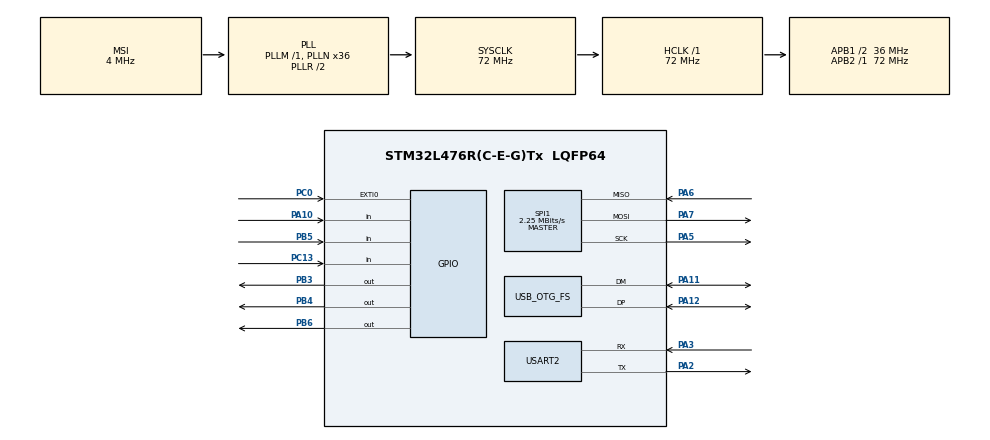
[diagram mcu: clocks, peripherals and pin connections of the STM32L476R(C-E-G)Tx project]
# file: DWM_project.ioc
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Mcu.Family=STM32L4
Mcu.Name=STM32L476R(C-E-G)Tx
Mcu.Package=LQFP64
NVIC.EXTI0_IRQn=true\:1\:0\:true
NVIC.PriorityGroup=NVIC_PRIORITYGROUP_4
PA10.Signal=GPIO_Input
PA11.Mode=Device_Only
PA11.Signal=USB_OTG_FS_DM
PA12.Mode=Device_Only
PA12.Signal=USB_OTG_FS_DP
PA2.Mode=Asynchronous
PA2.Signal=USART2_TX
PA3.Mode=Asynchronous
PA3.Signal=USART2_RX
PA5.Mode=Full_Duplex_Master
PA5.Signal=SPI1_SCK
PA6.GPIO_PuPd=GPIO_PULLUP
PA6.Mode=Full_Duplex_Master
PA6.Signal=SPI1_MISO
PA7.Mode=Full_Duplex_Master
PA7.Signal=SPI1_MOSI
PB3.Signal=GPIO_Output
PB4.Signal=GPIO_Output
PB5.Signal=GPIO_Input
PB6.GPIO_PuPd=GPIO_PULLUP
PB6.GPIO_Speed=GPIO_SPEED_HIGH
PB6.PinState=GPIO_PIN_SET
PB6.Signal=GPIO_Output
PC0.GPIO_PuPd=GPIO_PULLDOWN
PC0.Signal=GPXTI0
PC13.Signal=GPIO_Input
ProjectManager.HeapSize=0x400
ProjectManager.StackSize=0x200
ProjectManager.TargetToolchain=MDK-ARM V5
RCC.ADCFreq_Value=48000000
RCC.AHBFreq_Value=72000000
RCC.APB1CLKDivider=RCC_HCLK_DIV2
RCC.APB1Freq_Value=36000000
RCC.APB1TimFreq_Value=72000000
RCC.APB2Freq_Value=72000000
RCC.APB2TimFreq_Value=72000000
RCC.CortexFreq_Value=72000000
RCC.HCLKFreq_Value=72000000
RCC.HSE_VALUE=8000000
RCC.HSI_VALUE=16000000
RCC.LSE_VALUE=32768
RCC.MSI_VALUE=4000000
RCC.PLLN=36
RCC.PLLSAI1N=24
RCC.SYSCLKFreq_VALUE=72000000
RCC.SYSCLKSource=RCC_SYSCLKSOURCE_PLLCLK
RCC.USBFreq_Value=48000000
RCC.VCOOutputFreq_Value=144000000
SPI1.BaudRatePrescaler=SPI_BAUDRATEPRESCALER_32
SPI1.CLKPhase=SPI_PHASE_1EDGE
SPI1.CLKPolarity=SPI_POLARITY_LOW
SPI1.CRCCalculation=SPI_CRCCALCULATION_DISABLED
SPI1.CalculateBaudRate=2.25 MBits/s
SPI1.DataSize=SPI_DATASIZE_8BIT
SPI1.FirstBit=SPI_FIRSTBIT_MSB
SPI1.Mode=SPI_MODE_MASTER
SPI1.NSSPMode=SPI_NSS_PULSE_DISABLED
TIM2.Period=0xFFFFFFFF
TIM2.Prescaler=71
USART2.WordLength=UART_WORDLENGTH_8B
USB_OTG_FS.VirtualMode=Device_Only
VP_TIM2_VS_ClockSourceINT.Mode=Internal
board=DWM_project

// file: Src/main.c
/**
  ******************************************************************************
  * File Name          : main.c
  * Description        : Main program body
  ******************************************************************************
  *
  * COPYRIGHT(c) 2016 STMicroelectronics
  *
  * Redistribution and use in source and binary forms, with or without modification,
  * are permitted provided that the following conditions are met:
  *   1. Redistributions of source code must retain the above copyright notice,
  *      this list of conditions and the following disclaimer.
  *   2. Redistributions in binary form must reproduce the above copyright notice,
  *      this list of conditions and the following disclaimer in the documentation
  *      and/or other materials provided with the distribution.
  *   3. Neither the name of STMicroelectronics nor the names of its contributors
  *      may be used to endorse or promote products derived from this software
  *      without specific prior written permission.
  *
  * THIS SOFTWARE IS PROVIDED BY THE COPYRIGHT HOLDERS AND CONTRIBUTORS "AS IS"
  * AND ANY EXPRESS OR IMPLIED WARRANTIES, INCLUDING, BUT NOT LIMITED TO, THE
  * IMPLIED WARRANTIES OF MERCHANTABILITY AND FITNESS FOR A PARTICULAR PURPOSE ARE
  * DISCLAIMED. IN NO EVENT SHALL THE COPYRIGHT HOLDER OR CONTRIBUTORS BE LIABLE
  * FOR ANY DIRECT, INDIRECT, INCIDENTAL, SPECIAL, EXEMPLARY, OR CONSEQUENTIAL
  * DAMAGES (INCLUDING, BUT NOT LIMITED TO, PROCUREMENT OF SUBSTITUTE GOODS OR
  * SERVICES; LOSS OF USE, DATA, OR PROFITS; OR BUSINESS INTERRUPTION) HOWEVER
  * CAUSED AND ON ANY THEORY OF LIABILITY, WHETHER IN CONTRACT, STRICT LIABILITY,
  * OR TORT (INCLUDING NEGLIGENCE OR OTHERWISE) ARISING IN ANY WAY OUT OF THE USE
  * OF THIS SOFTWARE, EVEN IF ADVISED OF THE POSSIBILITY OF SUCH DAMAGE.
  *
  ******************************************************************************
  */
#include "stm32l4xx_hal.h"

/* USER CODE BEGIN Includes */
#include "deca_device_api.h"
#include "deca_regs.h"
#include "deca_com.h"
#include "usart_com.h"
#include "deca_spi.h"
#include "deca_meas.h"

#include <stdio.h>
#include <string.h>

/* USER CODE END Includes */

SPI_HandleTypeDef hspi1;

TIM_HandleTypeDef htim2;

UART_HandleTypeDef huart2;

PCD_HandleTypeDef hpcd_USB_OTG_FS;

/* USER CODE BEGIN PV */
/* Private variables ---------------------------------------------------------*/

/* USER CODE END PV */

void SystemClock_Config(void);
static void MX_GPIO_Init(void);
static void MX_SPI1_Init(void);
static void MX_USART2_UART_Init(void);
static void MX_USB_OTG_FS_PCD_Init(void);
static void MX_TIM2_Init(void);

/* USER CODE BEGIN PFP */
/* Private function prototypes -----------------------------------------------*/

/* USER CODE END PFP */

/* USER CODE BEGIN 0 */

uint32_t dwt_state = DECA_STATE_IDLE;
uint32_t dwt_state_local = DECA_STATE_IDLE;

/* Default communication configuration. We use here EVK1000's default mode (mode 3). */
static dwt_config_t config =
	{ // working configuration
    2,               /* Channel number. */
    DWT_PRF_64M,     /* Pulse repetition frequency. */
    DWT_PLEN_4096,   /* Preamble length. Used in TX only. */
    DWT_PAC64,       /* Preamble acquisition chunk size. Used in RX only. */
    9,               /* TX preamble code. Used in TX only. */
    9,               /* RX preamble code. Used in RX only. */
    1,               /* 0 to use standard SFD, 1 to use non-standard SFD. */
    DWT_BR_110K,     /* Data rate. */
    DWT_PHRMODE_STD, /* PHY header mode. */
    DWT_SFDTOC_DEF /* SFD timeout (preamble length + 1 + SFD length - PAC size). Used in RX only. */
	};

static dwt_config_t def_config =
	{ // working configuration
    2,               /* Channel number. */
    DWT_PRF_64M,     /* Pulse repetition frequency. */
    DWT_PLEN_4096,   /* Preamble length. Used in TX only. */
    DWT_PAC64,       /* Preamble acquisition chunk size. Used in RX only. */
    9,               /* TX preamble code. Used in TX only. */
    9,               /* RX preamble code. Used in RX only. */
    1,               /* 0 to use standard SFD, 1 to use non-standard SFD. */
    DWT_BR_110K,     /* Data rate. */
    DWT_PHRMODE_STD, /* PHY header mode. */
    DWT_SFDTOC_DEF /* SFD timeout (preamble length + 1 + SFD length - PAC size). Used in RX only. */
	};

	// DW transmission diagnostic structure
	static dwt_rxdiag_t rx_diag;

/* Configuration message
* byte 0 - message type
* byte 1 - channel number
* byte 2 - PRF
* byte 3 - Data Rate
* byte 4 - Preamble sequence length
* byte 5 - payload size
*/
// default configuration message
uint8_t ac_defConfigMsg[6] = {MSG_TYPE_CONF_SET, 2, DWT_PRF_64M, DWT_BR_110K, DWT_PLEN_1024, PAYLOAD_20B_CODE};

/* Default antenna delay values for 64 MHz PRF */
#define TX_ANT_DLY 16436
#define RX_ANT_DLY 16436

/* Frames used for measurement process*/
static uint8 ac_txConfMsg[CONFIG_MSG_LENGTH] = {MSG_TYPE_CONF_SET, 2, 2, DWT_BR_110K, DWT_PLEN_1024, PAYLOAD_20B_CODE, 0, 0, 0, 0};
static uint8 ac_txConfigConfirm[CONFIG_MSG_LENGTH] = {MSG_TYPE_CONF_CONFIRM, 0, 0, 0, 0, 0, 0, 0, 0, 0};
static uint8 ac_pollMsg[PAYLOAD_1000B]; // set size to max possible payload
static uint8 ac_respMsg[PAYLOAD_1000B]; // set size to max possible payload

/* Payload size */
uint32 w_dwtPayloadSize = PAYLOAD_20B;

/* Data rate */
uint32_t w_dataRate = 110;

/* Receiver timeout value */
uint32_t w_timeoutVal = 10000;

/* Transmit and received messages counters */
uint8 w_trMsgCnt = 0;      	          	// transmit messages counter
uint32_t w_recMsgCnt = 0;		 			          // receive messages counter
uint32_t w_rxRespTimeoutCnt = 0;            // receive response timeount counter
uint32_t w_rxConfigTimeoutCnt = 0;          // receive configuration timeount counter
uint32_t w_rxConfigConfirmTimeoutCnt = 0;   // receive configuration confirm timeount counter
uint32_t w_rxErrCnt = 0;					          // error receiving counter
uint32_t w_trCallbackCnt = 0;			          // transmit callback counter
uint32_t w_rxPollTimeoutCnt = 0;            // receive poll timeout counter

uint32_t w_rxTagRecTimeoutCnt = 0;

/* Timer values */
uint32_t w_tagTimVal = 0;   		// Tag message processing time
uint32_t w_anchorRxTimVal = 0;  // Anchor receive message time

/* Measurement data for host*/
uint32_t aw_measTimValues[NUM_MEASURE_MESSAGES];       // Measured Timer values
uint32_t aw_measTurnaroundTimes[NUM_MEASURE_MESSAGES]; // Tag's measured turnaround times
uint32_t aw_ChImpulseResponse[NUM_MEASURE_MESSAGES];   // Channel impulse response (used for RSSI calculation)
uint32_t aw_rxPreamCount[NUM_MEASURE_MESSAGES];        // Receive preamble counter (used for RSSI calculation)

/* DW module mode*/
/* Set desired operating mode for DW here */
uint32_t w_dwtMode = DECA_MODE_TAG;

/* Receive buffer */
static uint8 ac_rxBuffer[PAYLOAD_1000B]; // Set receive buffer length to maximum possible payload

/* Function declaration */
void setConfigurationStruct(uint8 *ac_configMsg, dwt_config_t *dwtStructConfig);
uint8 getPACsize(uint8 c_PrmLength);
uint8 getPRMcode(uint8 c_chNum, uint8 c_PRF);
uint8 getPHR(uint8 payload);
uint32_t getPayload(uint8 payloadCode);
uint32_t getDataRateFromCode(uint8 c_dataRateCode);
uint32_t getTimeoutVal(uint8 c_timoutCode);
void sendMeasurementData(void);
void clearArray(uint32_t *aw_array, uint32_t w_size);
uint32_t computeVarianceSum(uint32_t *aw_wordArray, uint32_t w_size, uint8_t c_excludeZerosEn);
uint32_t computeAverage(uint32_t *aw_wordArray, uint32_t w_size, uint8_t c_excludeZerosEn);
uint32_t computeSum(uint32_t *aw_wordArray, uint32_t w_size);

// declaration of callback functions
static void rx_ok_cb(const dwt_cb_data_t *cb_data);
static void rx_to_cb(const dwt_cb_data_t *cb_data);
static void rx_err_cb(const dwt_cb_data_t *cb_data);
static void tx_conf_cb(const dwt_cb_data_t *cb_data);

/* USER CODE END 0 */

int main(void)
{

  /* MCU Configuration----------------------------------------------------------*/

  /* Reset of all peripherals, Initializes the Flash interface and the Systick. */
  HAL_Init();

  /* Configure the system clock */
  SystemClock_Config();

  /* Initialize all configured peripherals */
  MX_GPIO_Init();
  MX_SPI1_Init();
  MX_USART2_UART_Init();
  MX_USB_OTG_FS_PCD_Init();
  MX_TIM2_Init();

  /* USER CODE BEGIN 2 */
	wakeup_DW1000();
	//USART_puts("DWT wakeup\n");

	reset_DW1000();
	//USART_puts("DWT reset\n");
	HAL_Delay(5);

	/* Initialize DWT*/
	set_spi_speed_low(); // set SPI to low speed (2.5MHz) for initialization
	if (dwt_initialise(DWT_LOADUCODE) == DWT_SUCCESS){
		//USART_puts("Initialization OK\n");
	}
	else
	{
		//USART_puts("Initialization FAILED\n");
		while(1){};
	}
	set_spi_speed_high(); // set SPI to high speed (20MHz)

	HAL_Delay(5);

	/* Configure DW1000. */
	dwt_configure(&config);
	//USART_puts("DW configured\n");
	HAL_Delay(5);

	/* Register RX call-back. */
	dwt_setcallbacks(&tx_conf_cb, &rx_ok_cb, &rx_to_cb, &rx_err_cb);

	/* Enable wanted interrupts (TX confirmation, RX good frames, RX timeouts and RX errors). */
	dwt_setinterrupt(DWT_INT_TFRS | DWT_INT_RFCG | DWT_INT_RFTO | DWT_INT_RXPTO | DWT_INT_RPHE | DWT_INT_RFCE | DWT_INT_RFSL | DWT_INT_SFDT, 1);

	// set delay after transmiting
	dwt_setrxaftertxdelay(TX_TO_RX_DELAY_UUS);

	/* Apply default antenna delay value */
	dwt_setrxantennadelay(RX_ANT_DLY);
	dwt_settxantennadelay(TX_ANT_DLY);

	// Check SPI communication by reading ID
	while(dwt_readdevid() != DWT_DEVICE_ID){
		//USART_puts("ID NOT read successfully\n");
		while(1){};
	}
	//USART_puts("ID read successfully\n");

	// TAG should start receiving on power on.
	if (w_dwtMode == DECA_MODE_TAG ){
		//USART_puts("Selected mode is TAG - RESPONDER\n");

		/* Activate reception immediately. */
		dwt_rxenable(DWT_START_RX_IMMEDIATE);
		dwt_state = DECA_TAG_RECEIVING_STATE;

		/* Reset and start timer */
		TIM2->CR1 |= 0x1; // Timer enable
		TIM2->EGR |= 0x1; // Update event

		/* Set receive timeout */
		dwt_setrxtimeout(DWT_TAG_RECEIVE_TIMEOUT);
	}
	else if (w_dwtMode == DECA_MODE_ANCHOR){
		//USART_puts("Selected mode is ANCHOR - INITIATOR\n");

		dwt_state = DECA_ANCHOR_STATE_IDLE;

		TIM2->CR1 |= 0x1; // Timer enable
		TIM2->EGR |= 0x1; // Update event

		/* Set receive timeout */
		dwt_setrxtimeout(DWT_ANCHOR_RECEIVE_TIMEOUT);
	}

	/* Alert host, that MCU reset has occured*/
	USART_putc(MCU_RESET);

  /* USER CODE END 2 */

  /* Infinite loop */
  while (1)
  {

  /* USER CODE BEGIN 3 */

		dwt_state_local = dwt_state;

		/* Main state machine*/
		switch (dwt_state_local){
			case DECA_ANCHOR_STATE_IDLE:
				//USART_puts("DECA_ANCHOR_IDLE\n");
				if (USART_getc() == NEW_CONFIGURATION_INCOMING){

					EXTI->IMR1 &= ~0x1; // mask EXTI0 interrupt

					/* Create configuration message from expected bytes */
					for (uint32_t i = 0; i < USART_NUM_OF_CONFIG; i++){
						ac_txConfMsg[i+1] = USART_getc();
					}

					ac_txConfMsg[MSG_TYPE_BYTE] = MSG_TYPE_CONF_SET;

					/* Reset all counters */
					w_trMsgCnt = 0;      	             // Transmit messages counter
					w_recMsgCnt = 0;		 			         // Receive messages counter
					w_rxRespTimeoutCnt = 0;            // Receive response timeout counter
					w_rxConfigTimeoutCnt = 0;			  	 // Receive configuration confirm timeout counter
					w_rxConfigConfirmTimeoutCnt = 0; 	 // Receive configuration confirm timeout counter
					w_rxErrCnt = 0;					  		  	 // Error receiving counter
					w_trCallbackCnt = 0;						   // Transmit callback counter
					w_rxPollTimeoutCnt = 0;   		   	 // Receive poll timeout counter

					/* Send configuration to TAG */
					/* Write frame data to DW1000 and prepare transmission. */
					dwt_writetxdata(sizeof(ac_txConfMsg), ac_txConfMsg, 0); /* Zero offset in TX buffer. */
					dwt_writetxfctrl(sizeof(ac_txConfMsg), 0, 1);				    /* Zero offset in TX buffer,  ranging. */

					/* Start transmission, indicating that a response is expected so that reception is enabled immediately after the frame is sent. */
					dwt_starttx(DWT_START_TX_IMMEDIATE | DWT_RESPONSE_EXPECTED);
					//USART_puts("Configuration sent to TAG\n");

					dwt_state = DECA_ANCHOR_RECEIVING_CONFIRM_STATE;

					EXTI->IMR1 |= 0x1; // unmask EXTI0 interrupt

				}

				/* Reset and start timer */
				TIM2->EGR |= 0x1;

				break;

			case DECA_TAG_CONFIG_RECEIVED_STATE:
				//USART_puts("DECA_TAG_CONFIG_RECEIVED_STATE\n");

				EXTI->IMR1 &= ~0x1; // mask EXTI0 interrupt

				/* Send confirmation message to Anchor */
				/* Write frame data to DW1000 and prepare transmission. */
				ac_txConfigConfirm[MSG_TYPE_BYTE] = MSG_TYPE_CONF_CONFIRM;
				dwt_writetxdata(sizeof(ac_txConfigConfirm), ac_txConfigConfirm, 0); /* Zero offset in TX buffer. */
				dwt_writetxfctrl(sizeof(ac_txConfigConfirm), 0, 1);				          /* Zero offset in TX buffer,  ranging. */

				/* Start transmission */
				dwt_starttx(DWT_START_TX_IMMEDIATE);

				/* Delay here, so message is sent before we force transmitter off */
				HAL_Delay(5);

				/* Disable receiver, transmitter, so new configuration can be set */
				dwt_forcetrxoff();
				dwt_rxreset();

				/* Set configuration */
				setConfigurationStruct(ac_rxBuffer, &config);
				dwt_configure(&config);

				/* Set payload size */
				w_dwtPayloadSize = getPayload(ac_rxBuffer[PAYLOAD_SIZE_BYTE]);

				/* Reset receive poll counter */
				w_rxPollTimeoutCnt = 0;

				/* Reset receive error counter */
				w_rxErrCnt = 0;

				/* Reset counter */
				w_rxTagRecTimeoutCnt = 0;

				/* Activate reception */
				dwt_rxenable(DWT_START_RX_IMMEDIATE);

				dwt_state = DECA_TAG_RECEIVING_STATE;

				/* Reset and start timer */
				TIM2->EGR |= 0x1;

				EXTI->IMR1 |= 0x1; // unmask EXTI0 interrupt

				break;

			case DECA_ANCHOR_CONFIRM_RECEIVED_STATE:
				//USART_puts("DECA_ANCHOR_CONFIRM_RECEIVED_STATE\n");

				EXTI->IMR1 &= ~0x1; // mask EXTI0 interrupt

				/* Disable receiver, transmitter, so new configuration can be set. */
				dwt_forcetrxoff();
				dwt_rxreset();

				/* Set configuration */
				setConfigurationStruct(ac_txConfMsg, &config); // set config structure
				dwt_configure(&config); 								 // set dwt configuration

				/* Get payload from received configuration message */
				w_dwtPayloadSize = getPayload(ac_txConfMsg[PAYLOAD_SIZE_BYTE]);

				/* Reset transmit and receive counters */
				w_recMsgCnt = 0;
				w_trMsgCnt = 0;

				w_rxConfigConfirmTimeoutCnt = 0;

				/* Wait for tag to properly configure */
				HAL_Delay(5);

				/* Start with measuring exchange */
				/* Write frame data to DW1000 and prepare transmission. */
				ac_pollMsg[MSG_TYPE_BYTE] = MSG_TYPE_MEAS_POLL;
				ac_pollMsg[POLL_NUM_BYTE] = 0;
				dwt_writetxdata(w_dwtPayloadSize, ac_pollMsg, 0); /* Zero offset in TX buffer. */
				dwt_writetxfctrl(w_dwtPayloadSize, 0, 1);		     	/* Zero offset in TX buffer,  ranging. */

				/* Reset and start Timer */
				TIM2->CR1 |=0x1;
				TIM2->EGR |= 0x1;

				/* Increment transmit counter value */
				w_trMsgCnt++;

				/* Start transmission, indicating that a response is expected so that reception is enabled immediately after the frame is sent. */
				dwt_starttx(DWT_START_TX_IMMEDIATE | DWT_RESPONSE_EXPECTED);

				dwt_state = DECA_ANCHOR_RECEIVING_RESPONSE_STATE;

				EXTI->IMR1 |= 0x1; // unmask EXTI0 interrupt

				break;

			case DECA_TAG_POLL_RECEIVED_STATE:

				EXTI->IMR1 &= ~0x1; // mask EXTI0 interrupt

				//USART_puts("DECA_TAG_POLL_RECEIVED_STATE\n");

				/* Send response */
				/* Write frame data to DW1000 and prepare transmission. */
				ac_respMsg[MSG_TYPE_BYTE] = MSG_TYPE_MEAS_RESPONSE;
				w_trMsgCnt = ac_rxBuffer[POLL_NUM_BYTE];

				/* Write previous receive timestamp to message, little endian*/
				for (uint32_t i = 0; i < 4;  i++){
					ac_respMsg[TIMESTAMP_OFFSET + i] = (uint8)(w_tagTimVal >> 8*i);
				}

				ac_respMsg[POLL_NUM_BYTE] = w_trMsgCnt;

				dwt_writetxdata(w_dwtPayloadSize, ac_respMsg, 0); /* Zero offset in TX buffer. */
				dwt_writetxfctrl(w_dwtPayloadSize, 0, 1);				  /* Zero offset in TX buffer,  ranging. */

				/* Save interval from receiving message interrupt to before sending response. */
				w_tagTimVal = TIM2->CNT;

				/* Reset and start timer */
				TIM2->EGR |= 0x1;

				/* Reset counter */
				w_rxTagRecTimeoutCnt = 0;

				/* Start transmission, indicating that a response is expected so that reception is enabled immediately after the frame is sent. */
				dwt_starttx(DWT_START_TX_IMMEDIATE | DWT_RESPONSE_EXPECTED);
				//USART_puts("Response sent\n");

				dwt_state = DECA_TAG_RECEIVING_STATE;

				EXTI->IMR1 |= 0x1; // unmask EXTI0 interrupt

				break;

			case DECA_ANCHOR_RESPONSE_RECEIVED_STATE:

				EXTI->IMR1 &= ~0x1; // mask EXTI0 interrupt

				//USART_puts("DECA_ANCHOR_RESPONSE_RECEIVED_STATE\n");

				if (ac_rxBuffer[POLL_NUM_BYTE] != w_trMsgCnt-1){
					dwt_state = DECA_ANCHOR_REC_RESPONSE_TMOUT_STATE;

					EXTI->IMR1 |= 0x1; // unmask EXTI0 interrupt
					break;
				}

				/* Reset configuration confirm timeout counter */
				w_rxConfigConfirmTimeoutCnt = 0;

				/* Read receiver diagnostics from DW */
				dwt_readdiagnostics(&rx_diag);

				/* Save timer value */
				//aw_measTimValues[w_trMsgCnt-1] = w_anchorRxTimVal;
				aw_measTimValues[w_recMsgCnt] = w_anchorRxTimVal;

				/* Subtract Tag's internal timestamp value from previous recorded Anchor value */
				if (w_recMsgCnt > 0){

					/* Read received Tag's timestamp value */
					w_tagTimVal = 0;
					for (uint32_t i = 0; i < 4; i++){
						w_tagTimVal |= (uint32_t)(ac_rxBuffer[TIMESTAMP_OFFSET + i] << 8*i);
					}

					aw_measTurnaroundTimes[w_recMsgCnt] = w_tagTimVal;

					aw_measTimValues[w_recMsgCnt] = (uint32_t)(aw_measTimValues[w_recMsgCnt] - w_tagTimVal);
				}

				/* Get values for computing RSSI */
				aw_ChImpulseResponse[w_recMsgCnt] = (uint32_t)rx_diag.maxGrowthCIR;
				aw_rxPreamCount[w_recMsgCnt] = (uint32_t)rx_diag.rxPreamCount;

				// increment receive counter value
				w_recMsgCnt++;

				if (w_trMsgCnt < NUM_MEASURE_MESSAGES){
					/* send poll again */
					/* Write frame data to DW1000 and prepare transmission. */
					ac_pollMsg[MSG_TYPE_BYTE] = MSG_TYPE_MEAS_POLL;
					ac_pollMsg[POLL_NUM_BYTE] = w_trMsgCnt;
					dwt_writetxdata(w_dwtPayloadSize, ac_pollMsg, 0); /* Zero offset in TX buffer. */
					dwt_writetxfctrl(w_dwtPayloadSize, 0, 1);				  /* Zero offset in TX buffer,  ranging. */

					/* Reset and start timer */
					TIM2->CR1 |= 0x1; // Timer enable
					TIM2->EGR |= 0x1;	// Update event generation

					/* Start transmission, indicating that a response is expected so that reception is enabled immediately after the frame is sent. */
					dwt_starttx(DWT_START_TX_IMMEDIATE | DWT_RESPONSE_EXPECTED);

					/* Increment transmit counter value */
					w_trMsgCnt++;

					dwt_state = DECA_ANCHOR_RECEIVING_RESPONSE_STATE;

				}
				else {
					//USART_puts("Measurement complete\n");

					/* Send measurement data to host computer */
					sendMeasurementData();

					/* Set Anchor back to IDLE state, where he will wait for instructions from host */
					dwt_state = DECA_ANCHOR_STATE_IDLE;

				}

				EXTI->IMR1 |= 0x1; // unmask EXTI0 interrupt

				break;

			case DECA_UNKNOWN_RECEIVED_STATE:

				EXTI->IMR1 &= ~0x1; // mask EXTI0 interrupt

				if (w_dwtMode == DECA_MODE_TAG){

					/* Start receiving again immediately */
					dwt_rxenable(DWT_START_RX_IMMEDIATE);

					dwt_state = DECA_TAG_RECEIVING_STATE;

				}
				else if (w_dwtMode == DECA_MODE_ANCHOR){

					/* Set to idle state and alert host about error */
					dwt_forcetrxoff(); // Force DW transmiter/receiver off
					dwt_rxreset();

					// Alert host that configuration was unable to deliver (too many timeouts occured)
					//USART_putc(MEAS_UNKNOWN_REC_ERROR);

					// Reset configuration to default
					//setConfigurationStruct(ac_defConfigMsg, &config);
					dwt_configure(&def_config);

					w_dwtPayloadSize = PAYLOAD_20B;

					/* Wait for Tag to reconfigure to default configuration */
					HAL_Delay(RX_POLL_TIMEOUT_CNT_MAX * DWT_TAG_RECEIVE_TIMEOUT / 1000);

					/* Reset and start timer */
					TIM2->EGR |= 0x1;

					//dwt_state = DECA_ANCHOR_STATE_IDLE;
					/* Send configuration again */
					/* Write frame data to DW1000 and prepare transmission. */
					dwt_writetxdata(sizeof(ac_txConfMsg), ac_txConfMsg, 0); /* Zero offset in TX buffer. */
					dwt_writetxfctrl(sizeof(ac_txConfMsg), 0, 1);				    /* Zero offset in TX buffer,  ranging. */

					/* Start transmission, indicating that a response is expected so that reception is enabled immediately after the frame is sent. */
					dwt_starttx(DWT_START_TX_IMMEDIATE | DWT_RESPONSE_EXPECTED);
					//USART_puts("Configuration sent to TAG\n");

					dwt_state = DECA_ANCHOR_RECEIVING_CONFIRM_STATE;

					w_rxConfigConfirmTimeoutCnt = 0;

				}

				/* Reset and start timer */
				TIM2->EGR |= 0x1;

				EXTI->IMR1 |= 0x1; // unmask EXTI0 interrupt

				break;

			case DECA_ANCHOR_REC_CONFIRM_TMOUT_STATE:

				EXTI->IMR1 &= ~0x1; // mask EXTI0 interrupt

				//USART_puts("DECA_ANCHOR_REC_CONFIRM_TMOUT_STATE\n");

				w_rxConfigConfirmTimeoutCnt++;

				if (w_rxConfigConfirmTimeoutCnt > RX_CONF_TIMEOUT_CNT_MAX){

					dwt_forcetrxoff(); // force DW transmiter/receiver off
					dwt_rxreset();

					/* Reset configuration to default */
					//setConfigurationStruct(ac_defConfigMsg, &config);
					dwt_configure(&def_config);

					w_dwtPayloadSize = PAYLOAD_20B;

					/* Reset receive configuration confirm timeout counter */
					w_rxConfigConfirmTimeoutCnt = 0;

					/* Wait for Tag to reconfigure to default configuration */
					HAL_Delay(RX_POLL_TIMEOUT_CNT_MAX * DWT_TAG_RECEIVE_TIMEOUT / 1000);

					/* Reset and start timer */
					TIM2->EGR |= 0x1;

					/* Alert host that configuration was unable to deliver (too many timeouts occured) */
					USART_putc(MEAS_ERROR_CONFIG);

					dwt_state = DECA_ANCHOR_STATE_IDLE;

				}
				else {
					/* Send configuration again */
					/* Write frame data to DW1000 and prepare transmission. */
					ac_txConfMsg[MSG_TYPE_BYTE] = MSG_TYPE_CONF_SET;
					dwt_writetxdata(sizeof(ac_txConfMsg), ac_txConfMsg, 0); /* Zero offset in TX buffer. */
					dwt_writetxfctrl(sizeof(ac_txConfMsg), 0, 1);				    /* Zero offset in TX buffer,  ranging. */

					/* Start transmission, indicating that a response is expected so that reception is enabled immediately after the frame is sent. */
					dwt_starttx(DWT_START_TX_IMMEDIATE | DWT_RESPONSE_EXPECTED);

					/* Reset and start timer */
					TIM2->EGR |= 0x1;

					dwt_state = DECA_ANCHOR_RECEIVING_CONFIRM_STATE;

					//dwt_state = DECA_ANCHOR_SENDING_CONFIG_STATE;

				}

				EXTI->IMR1 |= 0x1; // unmask EXTI0 interrupt

				break;

			case DECA_ANCHOR_REC_RESPONSE_TMOUT_STATE:

				EXTI->IMR1 &= ~0x1; // mask EXTI0 interrupt

				//USART_puts("DECA_ANCHOR_REC_RESPONSE_TMOUT_STATE\n");

				/* Increment receive respond timeout value */
				w_rxRespTimeoutCnt++;

				if (w_rxRespTimeoutCnt > RX_RESP_TIMEOUT_CNT_MAX){

					dwt_forcetrxoff(); // force DW transmiter/receiver off
					dwt_rxreset();

					/* Reset configuration to default */
					//setConfigurationStruct(ac_defConfigMsg, &config);
					dwt_configure(&def_config);

					w_dwtPayloadSize = PAYLOAD_20B;

					/* reset receive response timeout counter */
					w_rxRespTimeoutCnt = 0;

					/* Wait for Tag to reconfigure to default configuration */
					HAL_Delay( RX_POLL_TIMEOUT_CNT_MAX * DWT_TAG_RECEIVE_TIMEOUT  / 1000);

					/* Reset and start Timer */
					TIM2->EGR |= 0x1;

					/* Alert host that measurement was unable to complete (too many timeouts occured) */
					USART_putc(MEAS_ERROR_RESP);

					dwt_state = DECA_ANCHOR_STATE_IDLE;

				}
				else {
					/* Send poll again */
					/* Write frame data to DW1000 and prepare transmission */
					ac_pollMsg[MSG_TYPE_BYTE] = MSG_TYPE_MEAS_POLL;
					ac_pollMsg[POLL_NUM_BYTE] = w_trMsgCnt;

					dwt_writetxdata(w_dwtPayloadSize, ac_pollMsg, 0); /* Zero offset in TX buffer. */
					dwt_writetxfctrl(w_dwtPayloadSize, 0, 1);				  /* Zero offset in TX buffer,  ranging. */

					/* Reset and start Timer */
					TIM2->EGR |= 0x1;

					/* Start transmission, indicating that a response is expected so that reception is enabled immediately after the frame is sent. */
					dwt_starttx(DWT_START_TX_IMMEDIATE | DWT_RESPONSE_EXPECTED);

					/* Increment transmit counter value */
					w_trMsgCnt++;

					dwt_state = DECA_ANCHOR_RECEIVING_RESPONSE_STATE;
				}

				EXTI->IMR1 |= 0x1; // unmask EXTI0 interrupt

				break;

			case DECA_TAG_RECEIVING_TMOUT_STATE:

				EXTI->IMR1 &= ~0x1; // mask EXTI0 interrupt

				w_rxTagRecTimeoutCnt++;

				if (w_rxTagRecTimeoutCnt > RX_POLL_TIMEOUT_CNT_MAX){
					dwt_forcetrxoff(); // force DW transmiter/receiver off
					dwt_rxreset();

					/* Reset configuration to default */
					//setConfigurationStruct(ac_defConfigMsg, &config);
					dwt_configure(&def_config);

					HAL_Delay(5);

					w_dwtPayloadSize = PAYLOAD_20B;

					/* Reset counters */
					w_rxTagRecTimeoutCnt = 0;

				}

				/* Start receiving again immediately */
				dwt_rxenable(DWT_START_RX_IMMEDIATE);

				dwt_state = DECA_TAG_RECEIVING_STATE;

				/* Reset and start timer */
				TIM2->EGR |= 0x1;

				EXTI->IMR1 |= 0x1; // unmask EXTI0 interrupt

				break;

			/* In case Anchor gets stuck, we check Timer value and reset Anchor back to IDLE state.
			 * We also need to alert host that error occured.
			 */
			case DECA_ANCHOR_RECEIVING_RESPONSE_STATE:
			case DECA_ANCHOR_RECEIVING_CONFIRM_STATE:

				if (TIM2->CNT > TIM_CNT_TIMEOUT){

					/* Force DW transmiter/receiver off */
					dwt_forcetrxoff();
					dwt_rxreset();

					/* Reset configuration to default */
					//setConfigurationStruct(ac_defConfigMsg, &config);
					dwt_configure(&def_config);

					HAL_Delay(5);

					dwt_state = DECA_ANCHOR_STATE_IDLE;

					/* Reset and start timer */
					TIM2->EGR |= 0x1;

					USART_putc(MEAS_RX_ERROR);

				}
				break;

			case DECA_TAG_RECEIVING_STATE:
				if (TIM2->CNT > RX_POLL_TIMEOUT_CNT_MAX * DWT_TAG_RECEIVE_TIMEOUT){

					/* Force DW transmiter/receiver off */
					dwt_forcetrxoff();
					dwt_rxreset();

					/* Reset configuration to default */
					//setConfigurationStruct(ac_defConfigMsg, &config);
					dwt_configure(&def_config);

					HAL_Delay(5);

					/* Reset and start timer */
					TIM2->EGR |= 0x1;

					/* Reset counters */
					w_rxTagRecTimeoutCnt = 0;

					/* Start receiving again immediately */
					dwt_rxenable(DWT_START_RX_IMMEDIATE);

					dwt_state = DECA_TAG_RECEIVING_STATE;
				}

				break;
		}

	} /* end while*/

  /* USER CODE END 3 */

} /* end main */

/** System Clock Configuration
*/
void SystemClock_Config(void)
{

  RCC_OscInitTypeDef RCC_OscInitStruct;
  RCC_ClkInitTypeDef RCC_ClkInitStruct;
  RCC_PeriphCLKInitTypeDef PeriphClkInit;

  RCC_OscInitStruct.OscillatorType = RCC_OSCILLATORTYPE_LSE|RCC_OSCILLATORTYPE_MSI;
  RCC_OscInitStruct.LSEState = RCC_LSE_OFF;
  RCC_OscInitStruct.MSIState = RCC_MSI_ON;
  RCC_OscInitStruct.MSICalibrationValue = 0;
  RCC_OscInitStruct.MSIClockRange = RCC_MSIRANGE_6;
  RCC_OscInitStruct.PLL.PLLState = RCC_PLL_ON;
  RCC_OscInitStruct.PLL.PLLSource = RCC_PLLSOURCE_MSI;
  RCC_OscInitStruct.PLL.PLLM = 1;
  RCC_OscInitStruct.PLL.PLLN = 36;
  RCC_OscInitStruct.PLL.PLLP = RCC_PLLP_DIV7;
  RCC_OscInitStruct.PLL.PLLQ = RCC_PLLQ_DIV2;
  RCC_OscInitStruct.PLL.PLLR = RCC_PLLR_DIV2;
  HAL_RCC_OscConfig(&RCC_OscInitStruct);

  RCC_ClkInitStruct.ClockType = RCC_CLOCKTYPE_HCLK|RCC_CLOCKTYPE_SYSCLK
                              |RCC_CLOCKTYPE_PCLK1|RCC_CLOCKTYPE_PCLK2;
  RCC_ClkInitStruct.SYSCLKSource = RCC_SYSCLKSOURCE_PLLCLK;
  RCC_ClkInitStruct.AHBCLKDivider = RCC_SYSCLK_DIV1;
  RCC_ClkInitStruct.APB1CLKDivider = RCC_HCLK_DIV2;
  RCC_ClkInitStruct.APB2CLKDivider = RCC_HCLK_DIV1;
  HAL_RCC_ClockConfig(&RCC_ClkInitStruct, FLASH_LATENCY_4);

  PeriphClkInit.PeriphClockSelection = RCC_PERIPHCLK_USART2|RCC_PERIPHCLK_USB;
  PeriphClkInit.Usart2ClockSelection = RCC_USART2CLKSOURCE_PCLK1;
  PeriphClkInit.UsbClockSelection = RCC_USBCLKSOURCE_PLLSAI1;
  PeriphClkInit.PLLSAI1.PLLSAI1N = 24;
  PeriphClkInit.PLLSAI1.PLLSAI1P = RCC_PLLP_DIV7;
  PeriphClkInit.PLLSAI1.PLLSAI1Q = RCC_PLLQ_DIV2;
  PeriphClkInit.PLLSAI1.PLLSAI1R = RCC_PLLR_DIV2;
  PeriphClkInit.PLLSAI1.PLLSAI1ClockOut = RCC_PLLSAI1_48M2CLK;
  HAL_RCCEx_PeriphCLKConfig(&PeriphClkInit);

  __PWR_CLK_ENABLE();

  HAL_PWREx_ControlVoltageScaling(PWR_REGULATOR_VOLTAGE_SCALE1);

  HAL_SYSTICK_Config(HAL_RCC_GetHCLKFreq()/1000);

  HAL_SYSTICK_CLKSourceConfig(SYSTICK_CLKSOURCE_HCLK);

  HAL_RCCEx_EnableMSIPLLMode();

  /* SysTick_IRQn interrupt configuration */
  HAL_NVIC_SetPriority(SysTick_IRQn, 0, 0);
}

/* SPI1 init function */
void MX_SPI1_Init(void)
{

  hspi1.Instance = SPI1;
  hspi1.Init.Mode = SPI_MODE_MASTER;
  hspi1.Init.Direction = SPI_DIRECTION_2LINES;
  hspi1.Init.DataSize = SPI_DATASIZE_8BIT;
  hspi1.Init.CLKPolarity = SPI_POLARITY_LOW;
  hspi1.Init.CLKPhase = SPI_PHASE_1EDGE;
  hspi1.Init.NSS = SPI_NSS_SOFT;
  hspi1.Init.BaudRatePrescaler = SPI_BAUDRATEPRESCALER_32;
  hspi1.Init.FirstBit = SPI_FIRSTBIT_MSB;
  hspi1.Init.TIMode = SPI_TIMODE_DISABLED;
  hspi1.Init.CRCCalculation = SPI_CRCCALCULATION_DISABLED;
  hspi1.Init.CRCPolynomial = 7;
  hspi1.Init.CRCLength = SPI_CRC_LENGTH_DATASIZE;
  hspi1.Init.NSSPMode = SPI_NSS_PULSE_DISABLED;
  HAL_SPI_Init(&hspi1);

}

/* TIM2 init function */
void MX_TIM2_Init(void)
{

  TIM_ClockConfigTypeDef sClockSourceConfig;
  TIM_MasterConfigTypeDef sMasterConfig;

  htim2.Instance = TIM2;
  htim2.Init.Prescaler = 71;
  htim2.Init.CounterMode = TIM_COUNTERMODE_UP;
  htim2.Init.Period = 0xFFFFFFFF;
  htim2.Init.ClockDivision = TIM_CLOCKDIVISION_DIV1;
  HAL_TIM_Base_Init(&htim2);

  sClockSourceConfig.ClockSource = TIM_CLOCKSOURCE_INTERNAL;
  HAL_TIM_ConfigClockSource(&htim2, &sClockSourceConfig);

  sMasterConfig.MasterOutputTrigger = TIM_TRGO_RESET;
  sMasterConfig.MasterSlaveMode = TIM_MASTERSLAVEMODE_DISABLE;
  HAL_TIMEx_MasterConfigSynchronization(&htim2, &sMasterConfig);

}

/* USART2 init function */
void MX_USART2_UART_Init(void)
{

  huart2.Instance = USART2;
  huart2.Init.BaudRate = 115200;
  huart2.Init.WordLength = UART_WORDLENGTH_8B;
  huart2.Init.StopBits = UART_STOPBITS_1;
  huart2.Init.Parity = UART_PARITY_NONE;
  huart2.Init.Mode = UART_MODE_TX_RX;
  huart2.Init.HwFlowCtl = UART_HWCONTROL_NONE;
  huart2.Init.OverSampling = UART_OVERSAMPLING_16;
  huart2.Init.OneBitSampling = UART_ONEBIT_SAMPLING_DISABLED;
  huart2.AdvancedInit.AdvFeatureInit = UART_ADVFEATURE_NO_INIT;
  HAL_UART_Init(&huart2);

}

/* USB_OTG_FS init function */
void MX_USB_OTG_FS_PCD_Init(void)
{

  hpcd_USB_OTG_FS.Instance = USB_OTG_FS;
  hpcd_USB_OTG_FS.Init.dev_endpoints = 7;
  hpcd_USB_OTG_FS.Init.speed = PCD_SPEED_FULL;
  hpcd_USB_OTG_FS.Init.ep0_mps = DEP0CTL_MPS_64;
  hpcd_USB_OTG_FS.Init.phy_itface = PCD_PHY_EMBEDDED;
  hpcd_USB_OTG_FS.Init.Sof_enable = DISABLE;
  hpcd_USB_OTG_FS.Init.low_power_enable = DISABLE;
  hpcd_USB_OTG_FS.Init.lpm_enable = DISABLE;
  hpcd_USB_OTG_FS.Init.battery_charging_enable = DISABLE;
  hpcd_USB_OTG_FS.Init.vbus_sensing_enable = ENABLE;
  HAL_PCD_Init(&hpcd_USB_OTG_FS);

}

/** Configure pins as
        * Analog
        * Input
        * Output
        * EVENT_OUT
        * EXTI
*/
void MX_GPIO_Init(void)
{

  GPIO_InitTypeDef GPIO_InitStruct;

  /* GPIO Ports Clock Enable */
  __GPIOC_CLK_ENABLE();
  __GPIOA_CLK_ENABLE();
  __GPIOB_CLK_ENABLE();

  /*Configure GPIO pin : PC13 */
  GPIO_InitStruct.Pin = GPIO_PIN_13;
  GPIO_InitStruct.Mode = GPIO_MODE_INPUT;
  GPIO_InitStruct.Pull = GPIO_NOPULL;
  HAL_GPIO_Init(GPIOC, &GPIO_InitStruct);

  /*Configure GPIO pin : PC0 */
  GPIO_InitStruct.Pin = GPIO_PIN_0;
  GPIO_InitStruct.Mode = GPIO_MODE_IT_RISING;
  GPIO_InitStruct.Pull = GPIO_PULLDOWN;
  HAL_GPIO_Init(GPIOC, &GPIO_InitStruct);

  /*Configure GPIO pin : PA10 */
  GPIO_InitStruct.Pin = GPIO_PIN_10;
  GPIO_InitStruct.Mode = GPIO_MODE_INPUT;
  GPIO_InitStruct.Pull = GPIO_NOPULL;
  HAL_GPIO_Init(GPIOA, &GPIO_InitStruct);

  /*Configure GPIO pins : PB3 PB4 */
  GPIO_InitStruct.Pin = GPIO_PIN_3|GPIO_PIN_4;
  GPIO_InitStruct.Mode = GPIO_MODE_OUTPUT_PP;
  GPIO_InitStruct.Pull = GPIO_NOPULL;
  GPIO_InitStruct.Speed = GPIO_SPEED_LOW;
  HAL_GPIO_Init(GPIOB, &GPIO_InitStruct);

  /*Configure GPIO pin : PB5 */
  GPIO_InitStruct.Pin = GPIO_PIN_5;
  GPIO_InitStruct.Mode = GPIO_MODE_INPUT;
  GPIO_InitStruct.Pull = GPIO_NOPULL;
  HAL_GPIO_Init(GPIOB, &GPIO_InitStruct);

  /*Configure GPIO pin : PB6 */
  GPIO_InitStruct.Pin = GPIO_PIN_6;
  GPIO_InitStruct.Mode = GPIO_MODE_OUTPUT_PP;
  GPIO_InitStruct.Pull = GPIO_PULLUP;
  GPIO_InitStruct.Speed = GPIO_SPEED_HIGH;
  HAL_GPIO_Init(GPIOB, &GPIO_InitStruct);

  /*Configure GPIO pin Output Level */
  HAL_GPIO_WritePin(GPIOB, GPIO_PIN_3|GPIO_PIN_4, GPIO_PIN_RESET);

  /*Configure GPIO pin Output Level */
  HAL_GPIO_WritePin(GPIOB, GPIO_PIN_6, GPIO_PIN_SET);

  /* EXTI interrupt init*/
  HAL_NVIC_SetPriority(EXTI0_IRQn, 1, 0);
  HAL_NVIC_EnableIRQ(EXTI0_IRQn);

}

/* USER CODE BEGIN 4 */

/*! ------------------------------------------------------------------------------------------------------------------
 * @fn rx_ok_cb()
 *
 * @brief Callback to process RX good frame events
 *
 * @param  cb_data  callback data
 *
 * @return  none
 */
static void rx_ok_cb(const dwt_cb_data_t *cb_data)
{

	if (w_dwtMode == DECA_MODE_TAG){

		/* Reset and start Timer */
		TIM2->CR1 |= 0x1;
		TIM2->EGR |= 0x1;

	}
	else if (w_dwtMode == DECA_MODE_ANCHOR){

		w_anchorRxTimVal = TIM2->CNT;

	}

	int i;

	/* Clear local RX buffer to avoid having leftovers from previous receptions. This is not necessary but is included here to aid reading the RX
	 * buffer. */
	for (i = 0 ; i < w_dwtPayloadSize; i++ )
	{
		ac_rxBuffer[i] = 0;
	}

	/* A frame has been received, copy it to our local buffer. */
	if (cb_data->datalength <= PAYLOAD_1000B)
	{
		dwt_readrxdata(ac_rxBuffer, cb_data->datalength, 0);

		switch (ac_rxBuffer[MSG_TYPE_BYTE]){
			case MSG_TYPE_CONF_SET:
				dwt_state = DECA_TAG_CONFIG_RECEIVED_STATE;
				break;
			case MSG_TYPE_CONF_CONFIRM:
				dwt_state = DECA_ANCHOR_CONFIRM_RECEIVED_STATE;
				break;
			case MSG_TYPE_MEAS_POLL:
				dwt_state = DECA_TAG_POLL_RECEIVED_STATE;
				break;
			case MSG_TYPE_MEAS_RESPONSE:

				if (dwt_state == DECA_ANCHOR_RECEIVING_CONFIRM_STATE){
					dwt_state = DECA_ANCHOR_REC_CONFIRM_TMOUT_STATE;
				}
				else{
					dwt_state = DECA_ANCHOR_RESPONSE_RECEIVED_STATE;
				}

				break;

			default:
				/* This state should not occur */
				if (dwt_state == DECA_ANCHOR_RECEIVING_RESPONSE_STATE){
					dwt_state = DECA_ANCHOR_REC_RESPONSE_TMOUT_STATE;
				}
				else if (dwt_state == DECA_ANCHOR_RECEIVING_CONFIRM_STATE){
					dwt_state = DECA_ANCHOR_REC_CONFIRM_TMOUT_STATE;
				}
				else if (dwt_state == DECA_TAG_RECEIVING_STATE){
					dwt_state = DECA_TAG_RECEIVING_TMOUT_STATE;
				}

				// dwt_state = DECA_UNKNOWN_RECEIVED_STATE;
		}
	}
	else {
		// start receiving again immediately
		dwt_rxenable(DWT_START_RX_IMMEDIATE);
	}
}

/*! ------------------------------------------------------------------------------------------------------------------
 * @fn rx_to_cb()
 * @brief Callback to process RX timeout events
 * @param  cb_data  callback data
 * @return  none
 */
static void rx_to_cb(const dwt_cb_data_t *cb_data)
{
	/* Timeout occured while receiving. Check DW state and react accordingly. */
	switch (dwt_state){
		case DECA_ANCHOR_RECEIVING_CONFIRM_STATE:
			dwt_state = DECA_ANCHOR_REC_CONFIRM_TMOUT_STATE;
			break;
		case DECA_ANCHOR_RECEIVING_RESPONSE_STATE:
			dwt_state = DECA_ANCHOR_REC_RESPONSE_TMOUT_STATE;
			break;
		case DECA_TAG_RECEIVING_STATE:
			dwt_state = DECA_TAG_RECEIVING_TMOUT_STATE;
			break;

	}
}

/*! ------------------------------------------------------------------------------------------------------------------
 * @fn rx_err_cb()
 * @brief Callback to process RX error events
 * @param  cb_data  callback data
 * @return  none
 */
static void rx_err_cb(const dwt_cb_data_t *cb_data)
{
	/* Reset receiver and start receiving again */
	//dwt_rxreset();

		if (dwt_state == DECA_ANCHOR_RECEIVING_RESPONSE_STATE){
		dwt_state = DECA_ANCHOR_REC_RESPONSE_TMOUT_STATE;
		}
		else if (dwt_state == DECA_ANCHOR_RECEIVING_CONFIRM_STATE){
			dwt_state = DECA_ANCHOR_REC_CONFIRM_TMOUT_STATE;
		}
		else if (dwt_state == DECA_TAG_RECEIVING_STATE){
			dwt_state = DECA_TAG_RECEIVING_TMOUT_STATE;
		}
//		else if (dwt_state == DECA_TAG_RECEIVING_POLL_STATE){
//			dwt_state = DECA_TAG_REC_POLL_TMOUT_STATE;
//		}
//		else if (dwt_state == DECA_TAG_RECEIVING_CONFIG_STATE){
//			dwt_state = DECA_TAG_REC_CONFIG_TMOUT_STATE;
//		}
//	dwt_rxenable(DWT_START_RX_IMMEDIATE);
//	w_rxErrCnt++;

}

/*! ------------------------------------------------------------------------------------------------------------------
 * @fn tx_conf_cb()
 *
 * @brief Callback to process TX confirmation events
 *
 * @param  cb_data  callback data
 *
 * @return  none
 */
static void tx_conf_cb(const dwt_cb_data_t *cb_data)
{

	//USART_puts("Transmit complete callback\n");
	/* Increment transmit callback counter value */
	w_trCallbackCnt++;

}

/**
* @fn setConfigurationStruct
* @brief Sets configuration structure according to received message.
* @param (uint8) ac_configMsg - pointer to 8bit configuration message array
* @param (dwt_config_t) dwtStructConfig - DW configuration structure
* Configuration message
* byte 0 - message type
* byte 1 - channel number
* byte 2 - PRF
* byte 3 - Data Rate
* byte 4 - Preamble sequence length
* byte 5 - payload size
*
*/
void setConfigurationStruct(uint8 *ac_configMsg, dwt_config_t *dwtStructConfig){

	uint8 c_chNum = ac_configMsg[CHANNEL_NUMBER_BYTE];
	uint8 c_PRF = ac_configMsg[PRF_BYTE];
	uint8 c_DataRate = ac_configMsg[DATA_RATE_BYTE];
	uint8 c_PrmLengthCode = ac_configMsg[PRM_LENGTH_BYTE];
	uint8 c_payloadCode = ac_configMsg[PAYLOAD_SIZE_BYTE];

	/* Set preamble codes as recommended in DW API Guide */
	uint8 c_prCode = getPRMcode(c_chNum, c_PRF);

	/* Get standard or extended PHR mode, according to payload */
	uint32_t w_payload = getPayload(c_payloadCode);
	uint8 c_PHR = getPHR(w_payload);

	/* Set PAC size as recommended in DW API Guide */
	uint8 c_PACsizeCode = getPACsize(c_PrmLengthCode);

	/* Set nsSFD
	* NOTE: It has been discovered that 850kbps data rate doesnt
	*				work with non - standard SFD. So if 110kbps or 6.8Mbps Data rate is used,
	* 			non - standard SFD should be used, but if 850kbps is used,
	*				standard SFD is required.
	*/
	//uint8 c_nsSFD = (uint8)(c_DataRate == 0 || c_DataRate == 2);
	uint8 c_nsSFD;
	if (c_DataRate == 0 || c_DataRate == 2){
		c_nsSFD = 1;
	}
	else {
		c_nsSFD = 0;
	}

	/* Set configuration strcture fields */
	dwtStructConfig->chan = c_chNum;
	dwtStructConfig->prf = c_PRF;
	dwtStructConfig->txPreambLength = c_PrmLengthCode;
	dwtStructConfig->rxPAC = c_PACsizeCode;
	dwtStructConfig->rxCode = c_prCode;
	dwtStructConfig->txCode = c_prCode;
	dwtStructConfig->nsSFD = c_nsSFD;   			 // non-standard SFD (for better performance)
	dwtStructConfig->dataRate = c_DataRate;
	dwtStructConfig->phrMode = c_PHR;
	dwtStructConfig->sfdTO = (uint16)DWT_SFDTOC_DEF; // default (longest) SFD timeout

}

/**
* @fn getPRMcode
* @param (uint8) c_chNum - Channel number
* @param (uint8) c_PRF
* @retval Receiver and transmitter preamble code according to Channel number and PRF, as recommended in API Guide.
*/
uint8 getPRMcode(uint8 c_chNum, uint8 c_PRF){
	uint8 c_prCode;

	if (c_PRF == DWT_PRF_16M){
		if (c_chNum == 1){
			c_prCode = 1;
		}
		else if (c_chNum == 2 || c_chNum == 5){
			c_prCode = 3;
		}
		else if (c_chNum == 3){
			c_prCode = 5;
		}
		else if (c_chNum == 4 || c_chNum == 7){
			c_prCode = 7;
		}
	}
	else if (c_PRF == DWT_PRF_64M){
		if (c_chNum == 1 || c_chNum == 2 || c_chNum == 3 || c_chNum == 5){
			c_prCode = 9;
		}
		else if (c_chNum == 4 || c_chNum == 7){
			c_prCode = 17;
		}
	}

	return c_prCode;
}

/**
* @fn getPACsize
* @param (uint8) c_PrmLength - Preambule length
* @retval (uint8) c_PACsize - Pac size acorrding to preamble length as is recommended by DW User Manual
*/
uint8 getPACsize(uint8 c_PrmLength){

	uint8 c_PACsize;

	if (c_PrmLength == DWT_PLEN_64 || c_PrmLength == DWT_PLEN_128){
		c_PACsize = DWT_PAC8;
	}
	else if (c_PrmLength == DWT_PLEN_256 || c_PrmLength == DWT_PLEN_512){
		c_PACsize = DWT_PAC16;
	}
	else if (c_PrmLength == DWT_PLEN_1024){
		c_PACsize = DWT_PAC32;
	}
	else if (c_PrmLength == DWT_PLEN_1536 || c_PrmLength == DWT_PLEN_2048 || c_PrmLength == DWT_PLEN_4096){
		c_PACsize = DWT_PAC64;
	}

	return c_PACsize;
}

/**
* @fn getPHR
* @param (uint8) c_payload - Payload size
* @retval (uint8) c_PHR - PHR mode acorrding to payload as is recommended by DW User Manual
*/
uint8 getPHR(uint8 c_payload){
	uint8 c_PHR;

	if (c_payload < 127){
		c_PHR = DWT_PHRMODE_STD;
	}
	else {
		c_PHR = DWT_PHRMODE_EXT;
	}

	return c_PHR;
}

/**
* @fn getPayload
* @param (uint8) c_payloadCode - Payload code
* @retval (uint32_t) w_payloadSize - Payload size according to payload code.
*/
uint32_t getPayload(uint8 c_payloadCode){

	uint32_t w_payloadSize;

	switch(c_payloadCode){
		case PAYLOAD_10B_CODE:
			w_payloadSize = PAYLOAD_10B;
			break;
		case PAYLOAD_20B_CODE:
			w_payloadSize = PAYLOAD_20B;
			break;
		case PAYLOAD_50B_CODE:
			w_payloadSize = PAYLOAD_50B;
			break;
		case PAYLOAD_100B_CODE:
			w_payloadSize = PAYLOAD_100B;
			break;
		case PAYLOAD_500B_CODE:
			w_payloadSize = PAYLOAD_500B;
			break;
		case PAYLOAD_1000B_CODE:
			w_payloadSize = PAYLOAD_1000B;
			break;
	}

	return w_payloadSize;

}

/**
* @fn getDataRateFromCode
* @brief gets used data rate from code
* @param (uint8) c_dataRateCode - Code for data rate
* @retval (uint32_t) w_dataRateData -  rate in kbits/s
*/

uint32_t getDataRateFromCode(uint8 c_dataRateCode){

	uint32_t	w_dataRate;

	switch (c_dataRateCode){
		case DWT_BR_110K:
			w_dataRate = 110;
			break;
		case DWT_BR_850K:
			w_dataRate = 850;
			break;
		case DWT_BR_6M8:
			w_dataRate = 6800;
			break;
	}

	return w_dataRate;
}

/**
* @brief Sends measurement data to host
* @procedure
* 1.  1 byte  - measurement results incoming alert byte
* 2.  1 word  - Number of measuring exchanges (poll - respond)
* 3.  1 word  - time of exchange average ...
* 4.  1 word  - ... and variance
* 5.  1 word  - number of sent messages
* 6.  1 word  - number of received messages
* 7.  1 word  - CIR average ...
* 8.  1 word  - ... and variance
* 9.  1 word  - PRM count average ...
* 10. 1 word  - ... and variance
*/
void sendMeasurementData(void){

	/* Compute time of exchange average and variance */
	uint32_t w_measTimValuesAvg = computeAverage(&aw_measTimValues[1], w_recMsgCnt-1, 1);
	uint32_t w_measTimValuesVar = computeVarianceSum(&aw_measTimValues[1], w_recMsgCnt-1, 1);

	/* Compute CIR values average and variance */
	uint32_t w_measCIRvaluesAvg = computeAverage(aw_ChImpulseResponse, w_recMsgCnt, 1);
	uint32_t w_measCIRvaluesVar = computeVarianceSum(aw_ChImpulseResponse, w_recMsgCnt, 1);

	/* Compute PRM count average and variance */
	uint32_t w_measPRMcntValuesAvg = computeAverage(aw_rxPreamCount, w_recMsgCnt, 1);
	uint32_t w_measPRMcntValuesVar = computeVarianceSum(aw_rxPreamCount, w_recMsgCnt, 1);

	/* Compute Tag's turnaroud times average and standard deviation */
	uint32_t w_measTurnarndValuesAvg = computeAverage(&aw_measTurnaroundTimes[1], w_recMsgCnt-1, 1);
	uint32_t w_measTurnarndValuesVar = computeVarianceSum(&aw_measTurnaroundTimes[1], w_recMsgCnt-1, 1);

	/* Clear all arrays */
	clearArray(aw_measTimValues, NUM_MEASURE_MESSAGES);
	clearArray(aw_ChImpulseResponse, NUM_MEASURE_MESSAGES);
	clearArray(aw_rxPreamCount, NUM_MEASURE_MESSAGES);
	clearArray(aw_measTurnaroundTimes, NUM_MEASURE_MESSAGES);

	/* Send data over USART */
	USART_putc((uint8_t)MEAS_RES_INCOMING);
	USART_putw((uint32_t)NUM_MEASURE_MESSAGES);
	USART_putw(w_measTimValuesAvg);
	USART_putw(w_measTimValuesVar);
	USART_putw(w_trMsgCnt);
	USART_putw(w_recMsgCnt);
	USART_putw(w_measCIRvaluesAvg);
	USART_putw(w_measCIRvaluesVar);
	USART_putw(w_measPRMcntValuesAvg);
	USART_putw(w_measPRMcntValuesVar);
	USART_putw(w_measTurnarndValuesAvg);
	USART_putw(w_measTurnarndValuesVar);
}

void clearArray(uint32_t *aw_array, uint32_t w_size){
	for (uint32_t i = 0; i < w_size; i++ ){
		aw_array[i] = 0;
	}
}

/**
* @brief Computes sum of array
* @param (uint32_t *) aw_wordArray - Input array of words
* @param (uint32_t) w_size - Size of input array
* @retval (uint32_t) w_sum - Computed sum of array
*/
uint32_t computeSum(uint32_t *aw_wordArray, uint32_t w_size){

	uint32_t w_sum = 0;

	for (uint32_t i = 0; i < w_size; i++){
		w_sum = w_sum + aw_wordArray[i];
	}

	return w_sum;
}

/**
* @brief Computes average of array
* @param (uint32_t *)aw_wordArray - Input array of words
* @param (uint32_t)w_size - Size of input array
* @retval (uint32_t) w_avg - Computed average of array
*/
uint32_t computeAverage(uint32_t *aw_wordArray, uint32_t w_size, uint8_t c_excludeZerosEn){

	uint32_t w_avg = 0;
	uint32_t w_zerosCnt = 0;

	// count zero elements
	if (c_excludeZerosEn){
		for (uint32_t i = 0; i < w_size; i++){
			if (aw_wordArray[i] == 0){
				w_zerosCnt++;
			}
		}
	}

	uint32_t w_sum = computeSum(aw_wordArray, w_size);

	w_avg = w_sum / (w_size - w_zerosCnt);

	return w_avg;
}

/**
* @brief Compute variance of array (non normed).
* @param (uint32_t *) aw_wordArray - input array of words
* @param (uint32_t) w_size - Size of input array
* @retval (uint32_t) w_var - Computed variance
* @note Result is non-normed and equal to N*v, where N is number of array elements and v is variance.
*/
uint32_t computeVarianceSum(uint32_t *aw_wordArray, uint32_t w_size, uint8_t c_excludeZerosEn){

	uint32_t w_avg = computeAverage(aw_wordArray, w_size, c_excludeZerosEn);

	int32_t sw_temp[w_size];

	/* Compute sumation arguments */
	for (uint32_t i = 0; i < w_size; i++){
		if (c_excludeZerosEn && (aw_wordArray[i] == 0)){
			sw_temp[i] = 0;
		}
		else {
			sw_temp[i] = (int32_t)aw_wordArray[i] - (int32_t)w_avg;
			sw_temp[i] = sw_temp[i] * sw_temp[i]; // square of argument
		}
	}

	/* Compute variance */
	uint32_t w_var;
	w_var = computeSum((uint32_t *)sw_temp, w_size);

	return w_var;

}

/* USER CODE END 4 */

/************************ (C) COPYRIGHT STMicroelectronics *****END OF FILE****/
